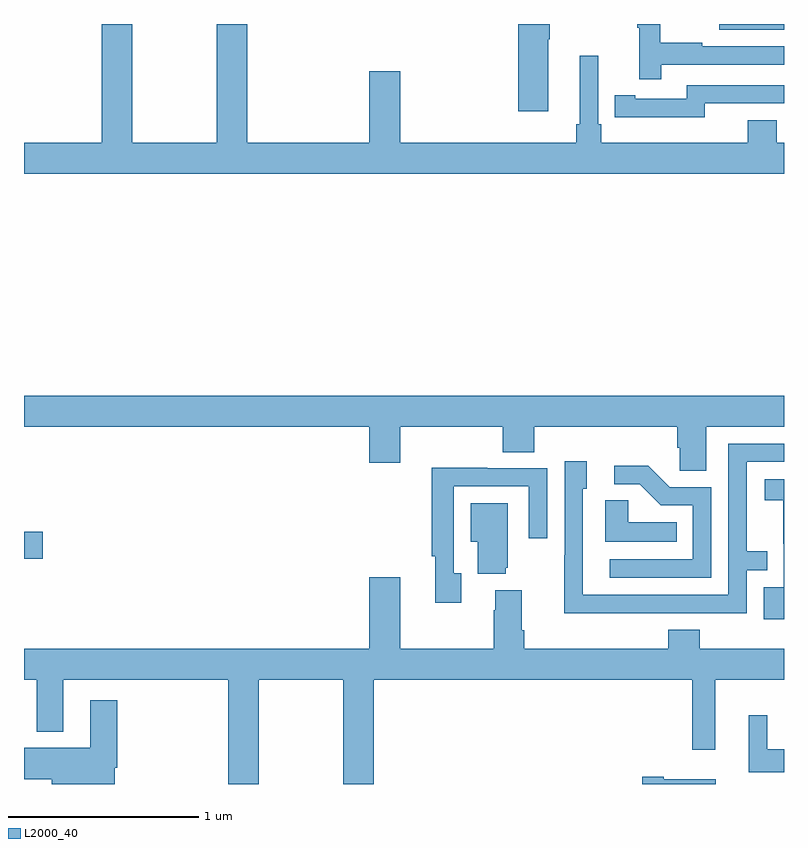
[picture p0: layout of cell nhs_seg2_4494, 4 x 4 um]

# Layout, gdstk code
import gdstk
lib = gdstk.Library(unit=1e-6, precision=1e-09)
def R(c, l, rs):  # rectangles x0, y0, x1, y1
    for r in rs: c.add(gdstk.rectangle(r[:2], r[2:], *l))
def P(c, l, *ps):  # polygons
    for p in ps: c.add(gdstk.Polygon(p, *l))
L2000_40 = (2000, 40)

nhs_seg2_4494 = lib.new_cell('nhs_seg2_4494')
R(nhs_seg2_4494, L2000_40, [(355,602.986,355.099,603.128), (358.659,605.771,359,605.8)])
P(nhs_seg2_4494, L2000_40, [(357.76,605.719),(357.768,605.719),(357.768,605.8),(357.602,605.8),(357.602,605.34),(357.76,605.34)],
  [(358.355,605.586),(359,605.586),(359,605.682),(358.571,605.682),(358.571,605.702),(358.348,605.702),(358.348,605.8),(358.227,605.8),(358.227,605.779),(358.238,605.779),(358.238,605.508),(358.355,605.508)],
  [(359,605.176),(358.961,605.176),(358.961,605.293),(358.808,605.293),(358.808,605.176),(358.037,605.176),(358.037,605.272),(358.023,605.272),(358.023,605.632),(357.926,605.632),(357.926,605.272),(357.907,605.272),(357.907,605.176),(356.98,605.176),(356.98,605.551),(356.816,605.551),(356.816,605.176),(356.174,605.176),(356.174,605.8),(356.014,605.8),(356.014,605.176),(355.569,605.176),(355.569,605.8),(355.409,605.8),(355.409,605.176),(355,605.176),(355,605.012),(359,605.012)],
  [(358.584,605.382),(359,605.382),(359,605.478),(358.488,605.478),(358.488,605.406),(358.216,605.406),(358.216,605.426),(358.108,605.426),(358.108,605.31),(358.216,605.31),(358.216,605.309),(358.584,605.309)],
  [(355,603.68),(356.816,603.68),(356.816,603.492),(356.98,603.492),(356.98,603.68),(357.521,603.68),(357.521,603.547),(357.686,603.547),(357.686,603.68),(358.439,603.68),(358.439,603.571),(358.452,603.571),(358.452,603.448),(358.591,603.448),(358.591,603.68),(359,603.68),(359,603.844),(355,603.844)],
  [(358.307,602.7),(358.803,602.7),(358.803,602.925),(358.913,602.925),(358.913,603.026),(358.803,603.026),(358.803,603.495),(359,603.495),(359,603.591),(358.707,603.591),(358.707,602.796),(357.942,602.796),(357.942,603.354),(357.961,603.354),(357.961,603.499),(357.846,603.499),(357.846,603.005),(357.844,603.005),(357.844,602.699),(358.307,602.699)],
  [(358.617,603.363),(358.398,603.363),(358.285,603.476),(358.107,603.476),(358.107,603.378),(358.241,603.378),(358.352,603.267),(358.521,603.267),(358.521,602.982),(358.083,602.982),(358.083,602.886),(358.617,602.886)],
  [(357.301,602.91),(357.261,602.91),(357.261,603.366),(357.657,603.366),(357.657,603.093),(357.753,603.093),(357.753,603.462),(357.437,603.462),(357.437,603.464),(357.145,603.464),(357.145,602.998),(357.164,602.998),(357.164,602.754),(357.301,602.754)],
  [(359,603.403),(358.899,603.403),(358.899,603.293),(358.997,603.293),(358.997,603.065),(358.998,603.065),(358.998,602.835),(358.893,602.835),(358.893,602.667),(359,602.667)],
  [(358.436,603.178),(358.179,603.178),(358.179,603.293),(358.058,603.293),(358.058,603.074),(358.436,603.074)],
  [(357.536,602.937),(357.547,602.937),(357.547,603.277),(357.35,603.277),(357.35,603.074),(357.389,603.074),(357.389,602.906),(357.536,602.906)],
  [(356.235,602.348),(356.68,602.348),(356.68,601.8),(356.84,601.8),(356.84,602.348),(358.518,602.348),(358.518,601.98),(358.639,601.98),(358.639,602.348),(359,602.348),(359,602.512),(358.556,602.512),(358.556,602.611),(358.391,602.611),(358.391,602.512),(357.632,602.512),(357.632,602.608),(357.619,602.608),(357.619,602.821),(357.479,602.821),(357.479,602.714),(357.472,602.714),(357.472,602.512),(356.98,602.512),(356.98,602.887),(356.816,602.887),(356.816,602.512),(355,602.512),(355,602.348),(355.067,602.348),(355.067,602.075),(355.207,602.075),(355.207,602.348),(356.075,602.348),(356.075,601.8),(356.235,601.8)],
  [(355.477,601.886),(355.49,601.886),(355.49,602.242),(355.349,602.242),(355.349,601.99),(355,601.99),(355,601.826),(355.145,601.826),(355.145,601.8),(355.477,601.8)],
  [(359,601.984),(358.912,601.984),(358.912,602.161),(358.814,602.161),(358.814,601.862),(359,601.862)],
  [(358.642,601.825),(358.366,601.825),(358.366,601.838),(358.254,601.838),(358.254,601.8),(358.642,601.8)])

lib.write_gds('nhs_seg2_4494.gds')
